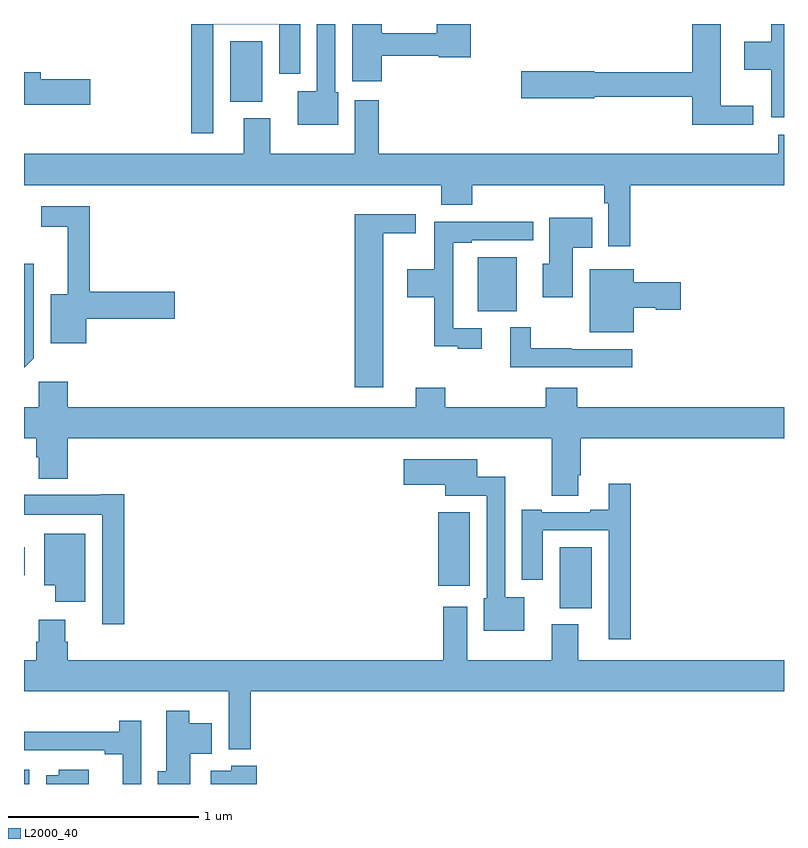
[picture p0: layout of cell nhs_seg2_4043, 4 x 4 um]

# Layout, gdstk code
import gdstk
lib = gdstk.Library(unit=1e-6, precision=1e-09)
def R(c, l, rs):  # rectangles x0, y0, x1, y1
    for r in rs: c.add(gdstk.rectangle(r[:2], r[2:], *l))
def P(c, l, *ps):  # polygons
    for p in ps: c.add(gdstk.Polygon(p, *l))
L2000_40 = (2000, 40)

nhs_seg2_4043 = lib.new_cell('nhs_seg2_4043')
R(nhs_seg2_4043, L2000_40, [(327,661.8,327.028,661.876), (329.819,662.726,329.989,663.046), (329.18,662.843,329.347,663.229), (327,662.899,327.004,663.046), (329.387,664.289,329.593,664.573), (328.085,665.39,328.255,665.71)])
P(nhs_seg2_4043, L2000_40, [(328.654,665.442),(328.638,665.442),(328.638,665.8),(328.542,665.8),(328.542,665.446),(328.442,665.446),(328.442,665.27),(328.654,665.27)],
  [(327.996,665.799),(328.343,665.799),(328.343,665.538),(328.453,665.538),(328.453,665.8),(327.88,665.8),(327.88,665.226),(327.996,665.226)],
  [(328.884,665.632),(329.184,665.632),(329.184,665.624),(329.351,665.624),(329.351,665.8),(329.173,665.8),(329.173,665.751),(328.884,665.751),(328.884,665.8),(328.727,665.8),(328.727,665.499),(328.884,665.499)],
  [(331,665.8),(330.934,665.8),(330.934,665.706),(330.792,665.706),(330.792,665.558),(330.934,665.558),(330.934,665.31),(331,665.31)],
  [(330.838,665.369),(330.667,665.369),(330.667,665.8),(330.518,665.8),(330.518,665.546),(330,665.546),(330,665.552),(329.616,665.552),(329.616,665.41),(330,665.41),(330,665.418),(330.518,665.418),(330.518,665.27),(330.838,665.27)],
  [(327.349,665.51),(327.088,665.51),(327.088,665.546),(327,665.546),(327,665.375),(327.349,665.375)],
  [(330.191,664.952),(331,664.952),(331,665.218),(330.971,665.218),(330.971,665.116),(328.868,665.116),(328.868,665.398),(328.742,665.398),(328.742,665.116),(328.297,665.116),(328.297,665.305),(328.157,665.305),(328.157,665.116),(327,665.116),(327,664.952),(329.195,664.952),(329.195,664.85),(329.36,664.85),(329.36,664.952),(330.055,664.952),(330.055,664.856),(330.075,664.856),(330.075,664.629),(330.191,664.629)],
  [(327.328,664.249),(327.793,664.249),(327.793,664.391),(327.347,664.391),(327.347,664.842),(327.09,664.842),(327.09,664.734),(327.23,664.734),(327.23,664.378),(327.14,664.378),(327.14,664.121),(327.328,664.121)],
  [(328.891,664.7),(329.062,664.7),(329.062,664.798),(328.742,664.798),(328.742,663.888),(328.891,663.888)],
  [(329.887,664.622),(329.99,664.622),(329.99,664.78),(329.765,664.78),(329.765,664.539),(329.729,664.539),(329.729,664.361),(329.887,664.361)],
  [(329.41,664.2),(329.259,664.2),(329.259,664.65),(329.356,664.65),(329.356,664.662),(329.68,664.662),(329.68,664.76),(329.443,664.76),(329.443,664.758),(329.158,664.758),(329.158,664.51),(329.016,664.51),(329.016,664.363),(329.158,664.363),(329.158,664.103),(329.282,664.103),(329.282,664.092),(329.41,664.092)],
  [(327.051,664.041),(327.051,664.537),(327,664.537),(327,663.99)],
  [(330.208,664.307),(330.324,664.307),(330.324,664.295),(330.457,664.295),(330.457,664.442),(330.208,664.442),(330.208,664.51),(329.978,664.51),(329.978,664.178),(330.208,664.178)],
  [(330.202,664.089),(329.882,664.089),(329.882,664.094),(329.668,664.094),(329.668,664.204),(329.558,664.204),(329.558,663.993),(330.202,663.993)],
  [(329.917,663.424),(329.93,663.424),(329.93,663.62),(331,663.62),(331,663.784),(329.912,663.784),(329.912,663.886),(329.747,663.886),(329.747,663.784),(329.216,663.784),(329.216,663.886),(329.063,663.886),(329.063,663.784),(327.23,663.784),(327.23,663.916),(327.078,663.916),(327.078,663.784),(327,663.784),(327,663.62),(327.065,663.62),(327.065,663.519),(327.077,663.519),(327.077,663.407),(327.23,663.407),(327.23,663.62),(329.777,663.62),(329.777,663.316),(329.917,663.316)],
  [(329.632,662.782),(329.532,662.782),(329.532,663.416),(329.386,663.416),(329.386,663.508),(328.998,663.508),(328.998,663.374),(329.216,663.374),(329.216,663.318),(329.436,663.318),(329.436,662.778),(329.42,662.778),(329.42,662.606),(329.632,662.606)],
  [(330.194,663.379),(330.077,663.379),(330.077,663.244),(329.981,663.244),(329.981,663.231),(329.725,663.231),(329.725,663.244),(329.621,663.244),(329.621,662.874),(329.731,662.874),(329.731,663.135),(330.078,663.135),(330.078,662.562),(330.194,662.562)],
  [(327.527,663.325),(327.404,663.325),(327.404,663.322),(327,663.322),(327,663.218),(327.411,663.218),(327.411,662.64),(327.527,662.64)],
  [(327.322,663.118),(327.107,663.118),(327.107,662.846),(327.164,662.846),(327.164,662.76),(327.322,662.76)],
  [(328.193,662.288),(331,662.288),(331,662.452),(329.917,662.452),(329.917,662.641),(329.777,662.641),(329.777,662.452),(329.332,662.452),(329.332,662.734),(329.207,662.734),(329.207,662.452),(327.23,662.452),(327.23,662.55),(327.217,662.55),(327.217,662.665),(327.077,662.665),(327.077,662.55),(327.065,662.55),(327.065,662.452),(327,662.452),(327,662.288),(328.077,662.288),(328.077,661.982),(328.193,661.982)],
  [(327.874,661.958),(327.988,661.958),(327.988,662.119),(327.871,662.119),(327.871,662.185),(327.749,662.185),(327.749,661.866),(327.703,661.866),(327.703,661.8),(327.874,661.8)],
  [(327.618,662.134),(327.502,662.134),(327.502,662.075),(327,662.075),(327,661.977),(327.425,661.977),(327.425,661.957),(327.521,661.957),(327.521,661.8),(327.618,661.8)],
  [(328.226,661.897),(328.092,661.897),(328.092,661.87),(327.983,661.87),(327.983,661.8),(328.226,661.8)],
  [(327.34,661.876),(327.182,661.876),(327.182,661.846),(327.116,661.846),(327.116,661.8),(327.34,661.8)])

lib.write_gds('nhs_seg2_4043.gds')
